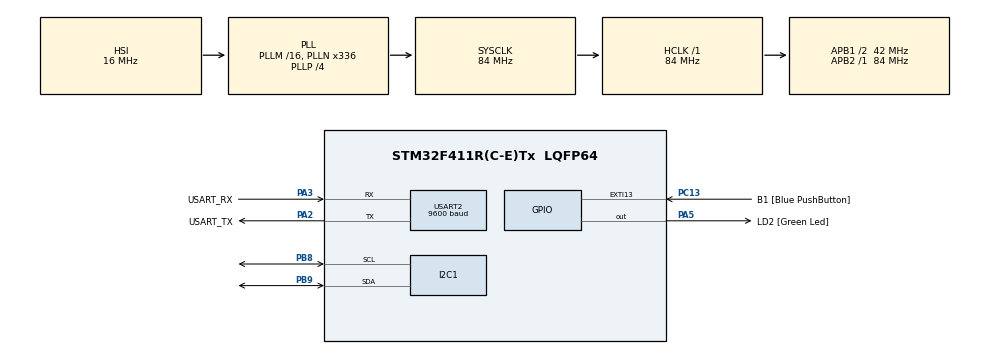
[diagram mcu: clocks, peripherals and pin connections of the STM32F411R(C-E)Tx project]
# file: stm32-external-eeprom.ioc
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Mcu.Family=STM32F4
Mcu.Name=STM32F411R(C-E)Tx
Mcu.Package=LQFP64
NVIC.PriorityGroup=NVIC_PRIORITYGROUP_0
PA13.GPIO_Label=TMS
PA13.Signal=SYS_JTMS-SWDIO
PA14.GPIO_Label=TCK
PA14.Signal=SYS_JTCK-SWCLK
PA2.GPIO_Label=USART_TX
PA2.Mode=Asynchronous
PA2.Signal=USART2_TX
PA3.GPIO_Label=USART_RX
PA3.Mode=Asynchronous
PA3.Signal=USART2_RX
PA5.GPIO_Label=LD2 [Green Led]
PA5.Signal=GPIO_Output
PB3.GPIO_Label=SWO
PB3.Signal=SYS_JTDO-SWO
PB8.Mode=I2C
PB8.Signal=I2C1_SCL
PB9.Mode=I2C
PB9.Signal=I2C1_SDA
PC13-ANTI_TAMP.GPIO_Label=B1 [Blue PushButton]
PC13-ANTI_TAMP.GPIO_ModeDefaultEXTI=GPIO_MODE_IT_FALLING
PC13-ANTI_TAMP.Signal=GPXTI13
PC14-OSC32_IN.Signal=RCC_OSC32_IN
PC15-OSC32_OUT.Signal=RCC_OSC32_OUT
PH0\ -\ OSC_IN.Signal=RCC_OSC_IN
PH1\ -\ OSC_OUT.Signal=RCC_OSC_OUT
ProjectManager.HeapSize=0x200
ProjectManager.StackSize=0x400
ProjectManager.TargetToolchain=Makefile
RCC.48MHZClocksFreq_Value=84000000
RCC.AHBFreq_Value=84000000
RCC.APB1CLKDivider=RCC_HCLK_DIV2
RCC.APB1Freq_Value=42000000
RCC.APB1TimFreq_Value=84000000
RCC.APB2Freq_Value=84000000
RCC.APB2TimFreq_Value=84000000
RCC.CortexFreq_Value=84000000
RCC.FLatency-AdvancedSettings=FLASH_LATENCY_2
RCC.HCLKFreq_Value=84000000
RCC.HSE_VALUE=8000000
RCC.HSI_VALUE=16000000
RCC.LSE_VALUE=32768
RCC.PLLN=336
RCC.PLLP=RCC_PLLP_DIV4
RCC.SYSCLKFreq_VALUE=84000000
RCC.SYSCLKSource=RCC_SYSCLKSOURCE_PLLCLK
RCC.VCOOutputFreq_Value=336000000
USART2.BaudRate=9600
USART2.VirtualMode=VM_ASYNC
board=NUCLEO-F411RE

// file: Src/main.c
/**
  ******************************************************************************
  * File Name          : main.c
  * Description        : Main program body
  ******************************************************************************
  ** This notice applies to any and all portions of this file
  * that are not between comment pairs USER CODE BEGIN and
  * USER CODE END. Other portions of this file, whether
  * inserted by the user or by software development tools
  * are owned by their respective copyright owners.
  *
  * COPYRIGHT(c) 2018 STMicroelectronics
  *
  * Redistribution and use in source and binary forms, with or without modification,
  * are permitted provided that the following conditions are met:
  *   1. Redistributions of source code must retain the above copyright notice,
  *      this list of conditions and the following disclaimer.
  *   2. Redistributions in binary form must reproduce the above copyright notice,
  *      this list of conditions and the following disclaimer in the documentation
  *      and/or other materials provided with the distribution.
  *   3. Neither the name of STMicroelectronics nor the names of its contributors
  *      may be used to endorse or promote products derived from this software
  *      without specific prior written permission.
  *
  * THIS SOFTWARE IS PROVIDED BY THE COPYRIGHT HOLDERS AND CONTRIBUTORS "AS IS"
  * AND ANY EXPRESS OR IMPLIED WARRANTIES, INCLUDING, BUT NOT LIMITED TO, THE
  * IMPLIED WARRANTIES OF MERCHANTABILITY AND FITNESS FOR A PARTICULAR PURPOSE ARE
  * DISCLAIMED. IN NO EVENT SHALL THE COPYRIGHT HOLDER OR CONTRIBUTORS BE LIABLE
  * FOR ANY DIRECT, INDIRECT, INCIDENTAL, SPECIAL, EXEMPLARY, OR CONSEQUENTIAL
  * DAMAGES (INCLUDING, BUT NOT LIMITED TO, PROCUREMENT OF SUBSTITUTE GOODS OR
  * SERVICES; LOSS OF USE, DATA, OR PROFITS; OR BUSINESS INTERRUPTION) HOWEVER
  * CAUSED AND ON ANY THEORY OF LIABILITY, WHETHER IN CONTRACT, STRICT LIABILITY,
  * OR TORT (INCLUDING NEGLIGENCE OR OTHERWISE) ARISING IN ANY WAY OUT OF THE USE
  * OF THIS SOFTWARE, EVEN IF ADVISED OF THE POSSIBILITY OF SUCH DAMAGE.
  *
  ******************************************************************************
  */

#include "main.h"
#include "stm32f4xx_hal.h"

I2C_HandleTypeDef hi2c1;

UART_HandleTypeDef huart2;

/* USER CODE BEGIN PV */
/* Private variables ---------------------------------------------------------*/

/* USER CODE END PV */

void SystemClock_Config(void);
static void MX_GPIO_Init(void);
static void MX_I2C1_Init(void);
static void MX_USART2_UART_Init(void);

/* USER CODE BEGIN PFP */
/* Private function prototypes -----------------------------------------------*/

/* USER CODE END PFP */

/* USER CODE BEGIN 0 */
#include <string.h>

void init() {
	const char wmsg[] = "Some data";
	char rmsg[sizeof(wmsg)];
	uint16_t devAddr = (0x50 << 1); // HAL expects address to be shifted one bit to the left
	uint16_t memAddr = 0x0100;
	HAL_StatusTypeDef status;

	const char writing[] = "Starting the test - writing to the memory...\r\n";
	HAL_UART_Transmit(&huart2, (uint8_t*)writing, sizeof(writing)-1, HAL_MAX_DELAY);

	// Hint: try to comment this line!
	HAL_I2C_Mem_Write(&hi2c1, devAddr, memAddr, I2C_MEMADD_SIZE_16BIT, (uint8_t*)wmsg, sizeof(wmsg), HAL_MAX_DELAY);

	const char waiting[] = "OK, now waiting until device is ready...\r\n";
	HAL_UART_Transmit(&huart2, (uint8_t*)waiting, sizeof(waiting)-1, HAL_MAX_DELAY);

	for(;;) { // wait...
		status = HAL_I2C_IsDeviceReady(&hi2c1, devAddr, 1, HAL_MAX_DELAY);
		if(status == HAL_OK)
			break;
	}

	const char reading[] = "Device is ready, now reading...\r\n";
	HAL_UART_Transmit(&huart2, (uint8_t*)reading, sizeof(reading)-1, HAL_MAX_DELAY);

	HAL_I2C_Mem_Read(&hi2c1, devAddr, memAddr, I2C_MEMADD_SIZE_16BIT, (uint8_t*)rmsg, sizeof(rmsg), HAL_MAX_DELAY);

	const char comparing[] = "Done, now comparing...\r\n";
	HAL_UART_Transmit(&huart2, (uint8_t*)comparing, sizeof(comparing)-1, HAL_MAX_DELAY);

	if(memcmp(rmsg, wmsg, sizeof(rmsg)) == 0) {
		const char result[] = "Test passed!\r\n";
		HAL_UART_Transmit(&huart2, (uint8_t*)result, sizeof(result)-1, HAL_MAX_DELAY);
	} else {
		const char result[] = "Test failed :(\r\n";
		HAL_UART_Transmit(&huart2, (uint8_t*)result, sizeof(result)-1, HAL_MAX_DELAY);

		char tmp_buff[64];
		snprintf(tmp_buff, sizeof(tmp_buff), "rmsg = '%s'\r\n", rmsg);
		HAL_UART_Transmit(&huart2, (uint8_t*)tmp_buff, strlen(tmp_buff), HAL_MAX_DELAY);
	}
}

void loop() {
	HAL_Delay(100);
}

/* USER CODE END 0 */

int main(void)
{

  /* MCU Configuration----------------------------------------------------------*/

  /* Reset of all peripherals, Initializes the Flash interface and the Systick. */
  HAL_Init();

  /* Configure the system clock */
  SystemClock_Config();

  /* Initialize all configured peripherals */
  MX_GPIO_Init();
  MX_I2C1_Init();
  MX_USART2_UART_Init();

  /* Infinite loop */
  /* USER CODE BEGIN WHILE */
  init();
  while (1)
  {
    loop();
  /* USER CODE END WHILE */

  }

}

/** System Clock Configuration
*/
void SystemClock_Config(void)
{

  RCC_OscInitTypeDef RCC_OscInitStruct;
  RCC_ClkInitTypeDef RCC_ClkInitStruct;

    /**Configure the main internal regulator output voltage
    */
  __HAL_RCC_PWR_CLK_ENABLE();

  __HAL_PWR_VOLTAGESCALING_CONFIG(PWR_REGULATOR_VOLTAGE_SCALE1);

    /**Initializes the CPU, AHB and APB busses clocks
    */
  RCC_OscInitStruct.OscillatorType = RCC_OSCILLATORTYPE_HSI;
  RCC_OscInitStruct.HSIState = RCC_HSI_ON;
  RCC_OscInitStruct.HSICalibrationValue = 16;
  RCC_OscInitStruct.PLL.PLLState = RCC_PLL_ON;
  RCC_OscInitStruct.PLL.PLLSource = RCC_PLLSOURCE_HSI;
  RCC_OscInitStruct.PLL.PLLM = 16;
  RCC_OscInitStruct.PLL.PLLN = 336;
  RCC_OscInitStruct.PLL.PLLP = RCC_PLLP_DIV4;
  RCC_OscInitStruct.PLL.PLLQ = 4;
  if (HAL_RCC_OscConfig(&RCC_OscInitStruct) != HAL_OK)
  {
    _Error_Handler(__FILE__, __LINE__);
  }

    /**Initializes the CPU, AHB and APB busses clocks
    */
  RCC_ClkInitStruct.ClockType = RCC_CLOCKTYPE_HCLK|RCC_CLOCKTYPE_SYSCLK
                              |RCC_CLOCKTYPE_PCLK1|RCC_CLOCKTYPE_PCLK2;
  RCC_ClkInitStruct.SYSCLKSource = RCC_SYSCLKSOURCE_PLLCLK;
  RCC_ClkInitStruct.AHBCLKDivider = RCC_SYSCLK_DIV1;
  RCC_ClkInitStruct.APB1CLKDivider = RCC_HCLK_DIV2;
  RCC_ClkInitStruct.APB2CLKDivider = RCC_HCLK_DIV1;

  if (HAL_RCC_ClockConfig(&RCC_ClkInitStruct, FLASH_LATENCY_2) != HAL_OK)
  {
    _Error_Handler(__FILE__, __LINE__);
  }

    /**Configure the Systick interrupt time
    */
  HAL_SYSTICK_Config(HAL_RCC_GetHCLKFreq()/1000);

    /**Configure the Systick
    */
  HAL_SYSTICK_CLKSourceConfig(SYSTICK_CLKSOURCE_HCLK);

  /* SysTick_IRQn interrupt configuration */
  HAL_NVIC_SetPriority(SysTick_IRQn, 0, 0);
}

/* I2C1 init function */
static void MX_I2C1_Init(void)
{

  hi2c1.Instance = I2C1;
  hi2c1.Init.ClockSpeed = 100000;
  hi2c1.Init.DutyCycle = I2C_DUTYCYCLE_2;
  hi2c1.Init.OwnAddress1 = 0;
  hi2c1.Init.AddressingMode = I2C_ADDRESSINGMODE_7BIT;
  hi2c1.Init.DualAddressMode = I2C_DUALADDRESS_DISABLE;
  hi2c1.Init.OwnAddress2 = 0;
  hi2c1.Init.GeneralCallMode = I2C_GENERALCALL_DISABLE;
  hi2c1.Init.NoStretchMode = I2C_NOSTRETCH_DISABLE;
  if (HAL_I2C_Init(&hi2c1) != HAL_OK)
  {
    _Error_Handler(__FILE__, __LINE__);
  }

}

/* USART2 init function */
static void MX_USART2_UART_Init(void)
{

  huart2.Instance = USART2;
  huart2.Init.BaudRate = 9600;
  huart2.Init.WordLength = UART_WORDLENGTH_8B;
  huart2.Init.StopBits = UART_STOPBITS_1;
  huart2.Init.Parity = UART_PARITY_NONE;
  huart2.Init.Mode = UART_MODE_TX_RX;
  huart2.Init.HwFlowCtl = UART_HWCONTROL_NONE;
  huart2.Init.OverSampling = UART_OVERSAMPLING_16;
  if (HAL_UART_Init(&huart2) != HAL_OK)
  {
    _Error_Handler(__FILE__, __LINE__);
  }

}

/** Configure pins as
        * Analog
        * Input
        * Output
        * EVENT_OUT
        * EXTI
*/
static void MX_GPIO_Init(void)
{

  GPIO_InitTypeDef GPIO_InitStruct;

  /* GPIO Ports Clock Enable */
  __HAL_RCC_GPIOC_CLK_ENABLE();
  __HAL_RCC_GPIOH_CLK_ENABLE();
  __HAL_RCC_GPIOA_CLK_ENABLE();
  __HAL_RCC_GPIOB_CLK_ENABLE();

  /*Configure GPIO pin Output Level */
  HAL_GPIO_WritePin(LD2_GPIO_Port, LD2_Pin, GPIO_PIN_RESET);

  /*Configure GPIO pin : B1_Pin */
  GPIO_InitStruct.Pin = B1_Pin;
  GPIO_InitStruct.Mode = GPIO_MODE_IT_FALLING;
  GPIO_InitStruct.Pull = GPIO_NOPULL;
  HAL_GPIO_Init(B1_GPIO_Port, &GPIO_InitStruct);

  /*Configure GPIO pin : LD2_Pin */
  GPIO_InitStruct.Pin = LD2_Pin;
  GPIO_InitStruct.Mode = GPIO_MODE_OUTPUT_PP;
  GPIO_InitStruct.Pull = GPIO_NOPULL;
  GPIO_InitStruct.Speed = GPIO_SPEED_FREQ_LOW;
  HAL_GPIO_Init(LD2_GPIO_Port, &GPIO_InitStruct);

}

void _Error_Handler(char * file, int line)
{
  while(1)
  {
  }
}

/************************ (C) COPYRIGHT STMicroelectronics *****END OF FILE****/
